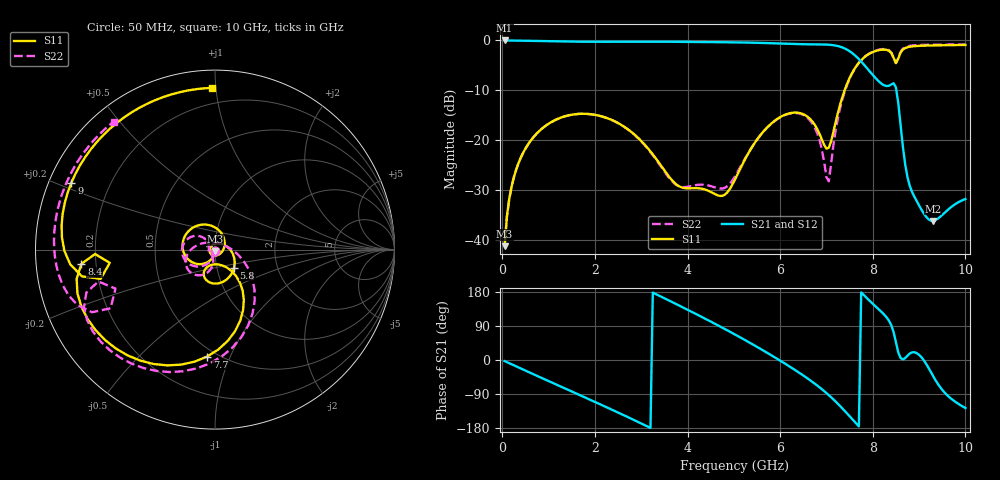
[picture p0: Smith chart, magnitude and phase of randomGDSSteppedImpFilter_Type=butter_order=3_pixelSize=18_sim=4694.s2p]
! freq	dB(S11)	phase(S11)	dB(S12)	phase(S12)
!  dB(S21)	phase(S21)	dB(S22)	phase(S22)
!S-par simulation data
#  GHz  S  DB  R 50
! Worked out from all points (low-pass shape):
!   200 points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, 50 MHz to 10 GHz, reference 50 ohm
!   highest |S21| = -0.01 dB at 50 MHz (marker M1); lowest = -36.1 dB at 9.3 GHz (marker M2)
!   |S21| within 3 dB of the highest: start of sweep to 7.616 GHz
!   lowest |S11| = -41.2 dB at 50 MHz (marker M3), VSWR 1.02, Z = 50 - j0.869 ohm
!   |S11| at or under -10 dB: start of sweep to 7.392 GHz
!   |S22| runs from -41.2 to -0.8 dB; largest |S21 - S12| = 0
!   S11 on the Smith chart (normalised r, x): 50 MHz: 1.00, -0.02; 5.8 GHz: 1.21, -0.25; 7.7 GHz: 0.44, -0.82; 8.4 GHz: 0.14, -0.05; 9 GHz: 0.07, +0.22; 10 GHz: 0.10, +0.98
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0.05  -41.22 -91.6  -0.01 -2.8  -0.01 -2.8  -41.21 -91.1
0.2  -29.31 -102.1  -0.02 -11.3  -0.02 -11.3  -29.30 -100.1
0.5  -21.68 -121.0  -0.07 -28.0  -0.07 -28.0  -21.67 -115.9
1.75  -14.69 161.6  -0.26 -96.8  -0.26 -96.8  -14.69 -176.8
2.7  -17.72 95.1  -0.25 -150.1  -0.25 -150.1  -17.76 143.5
3.4  -24.73 23.5  -0.25 168.9  -0.25 168.9  -24.92 134.7
4.3  -29.69 -141.8  -0.32 114.1  -0.32 114.1  -28.88 -166.1
5.05  -27.37 51.0  -0.39 65.6  -0.39 65.6  -26.84 -106.4
5.8  -16.72 -43.1  -0.56 13.2  -0.56 13.2  -16.77 -111.8
6.25  -14.51 -82.6  -0.71 -20.7  -0.71 -20.7  -14.58 -137.8
6.7  -16.29 -114.2  -0.78 -58.1  -0.78 -58.1  -16.70 -174.8
7.05  -21.49 -78.5  -0.86 -92.6  -0.86 -92.6  -28.21 62.8
7.3  -12.68 -53.1  -1.27 -122.2  -1.27 -122.2  -13.37 -29.7
7.7  -4.47 -94.2  -3.74 -175.1  -3.74 -175.1  -4.49 -86.4
8  -2.33 -129.5  -6.91 148.3  -6.91 148.3  -2.26 -121.2
8.35  -2.07 -168.1  -9.08 103.6  -9.08 103.6  -1.97 -156.3
8.4  -2.52 -173.9  -8.82 91.7  -8.82 91.7  -2.43 -161.5
8.5  -4.57 -172.8  -9.40 46.8  -9.40 46.8  -4.50 -158.6
8.75  -1.36 175.6  -27.42 11.5  -27.42 11.5  -1.20 -166.9
9  -1.08 155.1  -33.06 13.8  -33.06 13.8  -0.93 176.5
9.3  -1.00 134.1  -36.15 -41.9  -36.15 -41.9  -0.85 160.4
10  -0.90 91.0  -31.77 -126.7  -31.77 -126.7  -0.82 128.3
